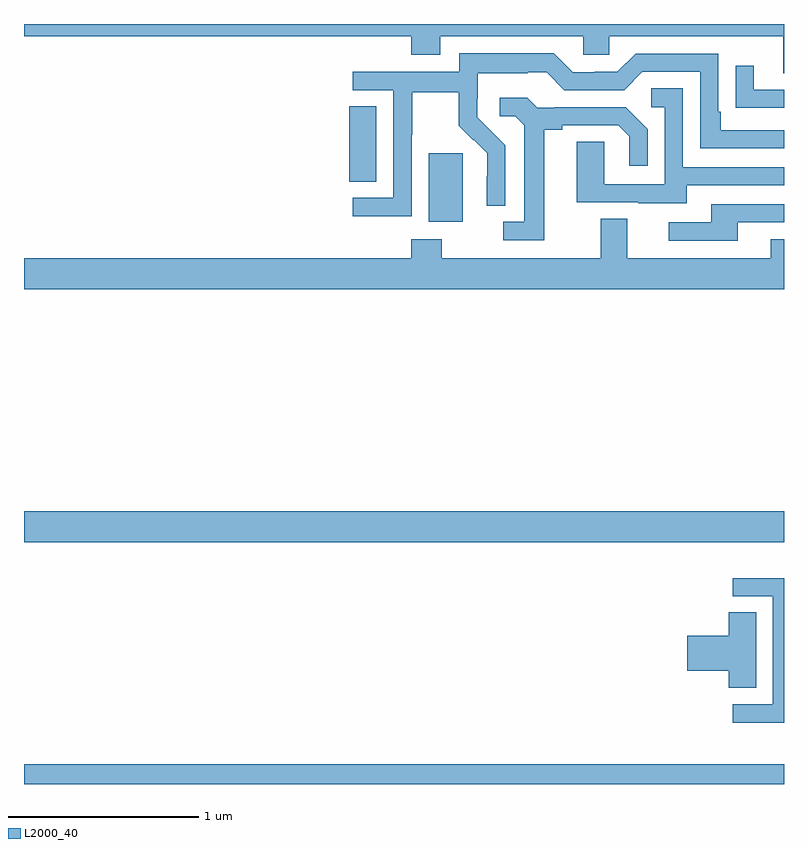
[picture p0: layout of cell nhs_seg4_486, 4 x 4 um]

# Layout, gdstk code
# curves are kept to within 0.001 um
import gdstk
lib = gdstk.Library(unit=1e-6, precision=1e-09)
def R(c, l, rs):  # rectangles x0, y0, x1, y1
    for r in rs: c.add(gdstk.rectangle(r[:2], r[2:], *l))
def P(c, l, *ps):  # polygons
    for p in ps: c.add(gdstk.Polygon(p, *l))
L2000_40 = (2000, 40)

nhs_seg4_486 = lib.new_cell('nhs_seg4_486')
R(nhs_seg4_486, L2000_40, [(135,776.9,139,777.004), (135,778.172,139,778.336), (137.129,779.858,137.308,780.219), (136.712,780.07,136.855,780.467)])
P(nhs_seg4_486, L2000_40, [(139,780.9),(135,780.9),(135,780.836),(137.039,780.836),(137.039,780.737),(137.191,780.737),(137.191,780.836),(137.943,780.836),(137.943,780.738),(138.081,780.738),(138.081,780.836),(138.995,780.836),(138.995,780.642),(139,780.642)],
  [(137.04,780.316),(137.043,780.316),(137.043,780.54),(137.287,780.54),(137.287,780.365),(137.364,780.288),(137.367,780.291),(137.438,780.221),(137.438,780.098),(137.436,780.098),(137.436,779.944),(137.532,779.944),(137.532,780.262),(137.386,780.41),(137.386,780.507),(137.388,780.507),(137.388,780.641),(137.651,780.641),(137.651,780.645),(137.751,780.645),(137.844,780.552),(138.159,780.552),(138.255,780.648),(138.558,780.648),(138.558,780.246),(139,780.246),(139,780.342),(138.667,780.342),(138.667,780.439),(138.654,780.439),(138.654,780.744),(138.219,780.744),(138.123,780.648),(138.005,780.648),(138.005,780.645),(137.889,780.645),(137.789,780.745),(137.292,780.745),(137.292,780.648),(136.731,780.648),(136.731,780.552),(136.944,780.552),(136.944,779.985),(136.731,779.985),(136.731,779.887),(137.04,779.887)],
  [(139,780.555),(138.841,780.555),(138.841,780.679),(138.745,780.679),(138.745,780.46),(138.847,780.46),(138.847,780.459),(139,780.459)],
  [(138.487,780.051),(139,780.051),(139,780.147),(138.468,780.147),(138.468,780.563),(138.3,780.563),(138.3,780.462),(138.372,780.462),(138.372,780.057),(138.054,780.057),(138.054,780.281),(137.909,780.281),(137.909,779.961),(138.233,779.961),(138.233,779.957),(138.487,779.957)],
  [(137.737,780.344),(137.833,780.344),(137.833,780.366),(138.128,780.366),(138.185,780.309),(138.185,780.153),(138.282,780.153),(138.282,780.346),(138.166,780.462),(137.794,780.462),(137.794,780.459),(137.7,780.459),(137.648,780.511),(137.505,780.511),(137.505,780.414),(137.586,780.414),(137.633,780.367),(137.633,779.859),(137.523,779.859),(137.523,779.763),(137.737,779.763)],
  [(138.757,779.856),(139,779.856),(139,779.952),(138.617,779.952),(138.617,779.856),(138.393,779.856),(138.393,779.76),(138.757,779.76)],
  [(139,779.767),(138.929,779.767),(138.929,779.668),(138.175,779.668),(138.175,779.876),(138.035,779.876),(138.035,779.668),(137.199,779.668),(137.199,779.767),(137.039,779.767),(137.039,779.668),(135,779.668),(135,779.504),(139,779.504)],
  [(139,777.984),(138.729,777.984),(138.729,777.888),(138.942,777.888),(138.942,777.321),(138.729,777.321),(138.729,777.223),(139,777.223)],
  [(138.853,777.803),(138.71,777.803),(138.71,777.68),(138.492,777.68),(138.492,777.497),(138.71,777.497),(138.71,777.406),(138.853,777.406)])

lib.write_gds('nhs_seg4_486.gds')
